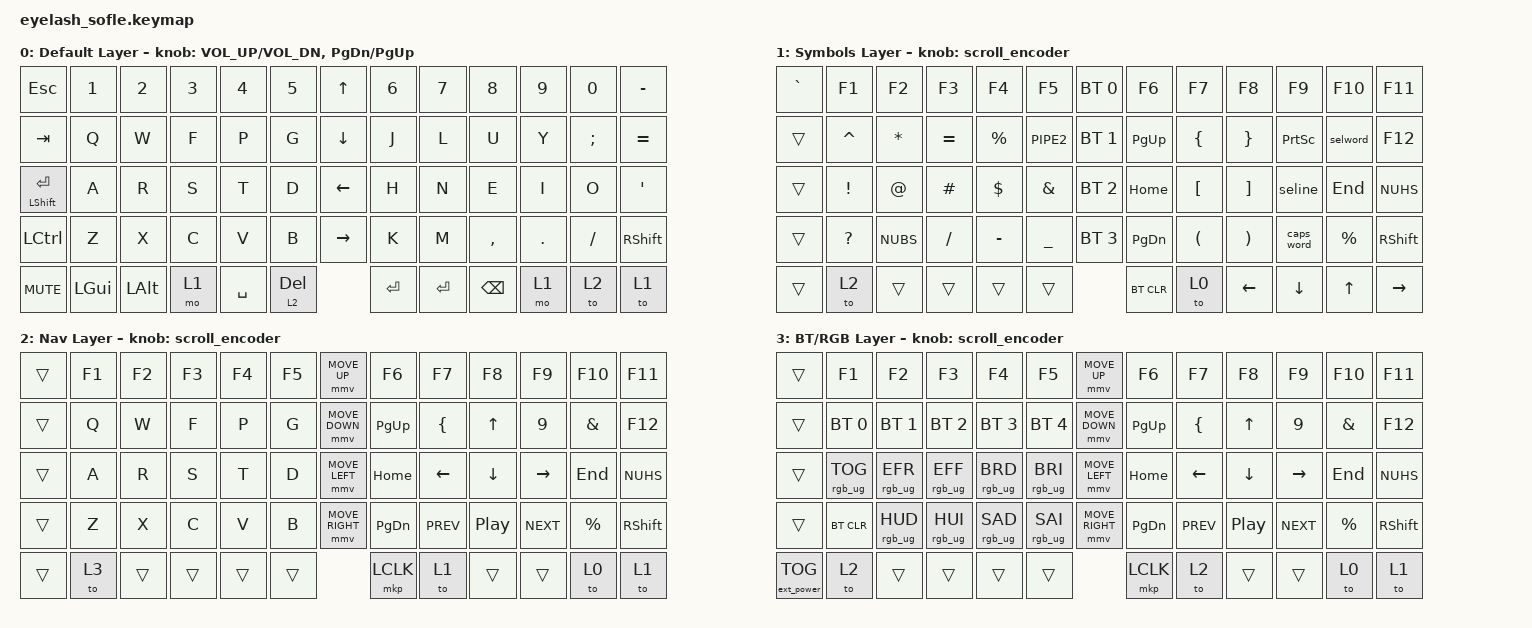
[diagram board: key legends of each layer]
#define ZMK_POINTING_DEFAULT_MOVE_VAL 1200  // 600
#define ZMK_POINTING_DEFAULT_SCRL_VAL 25   // 10

#include <input/processors.dtsi>
#include <zephyr/dt-bindings/input/input-event-codes.h>
#include <behaviors.dtsi>
#include <dt-bindings/zmk/bt.h>
#include <dt-bindings/zmk/keys.h>
#include <dt-bindings/zmk/outputs.h>
#include <dt-bindings/zmk/pointing.h>
#include <dt-bindings/zmk/ext_power.h>
#include <dt-bindings/zmk/rgb.h>

&mmv_input_listener { input-processors = <&zip_xy_scaler 2 1>; };

&msc_input_listener { input-processors = <&zip_scroll_scaler 2 1>; };

&caps_word {
    continue-list = <UNDERSCORE MINUS BACKSPACE DELETE>;
};

&msc {
    acceleration-exponent = <1>;      // 0
    time-to-max-speed-ms = <100>;       // 300
    delay-ms = <0>;                   // 0
};

&mmv {
    time-to-max-speed-ms = <500>;
    acceleration-exponent = <1>;
    trigger-period-ms = <16>;
};

&soft_off { hold-time-ms = <2000>; };

/ {
    scroll_encoder: scroll_encoder {
        compatible = "zmk,behavior-sensor-rotate";
        #sensor-binding-cells = <0>;
        bindings = <&msc SCRL_DOWN>, <&msc SCRL_UP>;

        tap-ms = <100>;
    };

    macros {
        seline: seline {
            compatible = "zmk,behavior-macro";
            #binding-cells = <0>;
            bindings
                = <&macro_tap &kp HOME>
                , <&macro_press &kp LSHFT>
                , <&macro_tap &kp END>
                , <&macro_release &kp LSHFT>
                ;
        };

        selword: selword {
            compatible = "zmk,behavior-macro";
            #binding-cells = <0>;
            bindings = <&kp LC(LEFT) &kp LC(LSHFT) &kp RIGHT>;
        };
    };

    behaviors {
    };

    combos {
        compatible = "zmk,combos";

        combo_grave {
            bindings = <&kp GRAVE>;
            timeout-ms = <50>;
            key-positions = <14 15>;
        };

        combo_mo_nav {
            bindings = <&mo 2>;
            timeout-ms = <50>;
            key-positions = <55 56>;
        };

        combo_mo_nav_2 {
            bindings = <&mo 2>;
            timeout-ms = <50>;
            key-positions = <55 61>;
        };
    };

    keymap {
        compatible = "zmk,keymap";

        default_layer {
            bindings = <
   // TODO FEKO - The bottom left is the action on pressing the rotary, and in the middle is the joystick
   // |------------------------------------------------------------------------------------------------------------------------------------------------------------------|
   // |  ESC           |   1   |   2    |   3     |   4     |   5      |                                    |   6     |   7    |   8      |   9     |   0     |   -      |
      &kp ESC          &kp N1  &kp N2   &kp N3    &kp N4    &kp N5                &kp UP_ARROW              &kp N6    &kp N7   &kp N8     &kp N9    &kp N0    &kp MINUS
   // |  TAB           |   Q   |   W    |   F     |   P     |   G      |                                    |   J     |   L    |   U      |   Y     |  ;:     | =        |
      &kp TAB          &kp Q   &kp W    &kp F     &kp P     &kp G                 &kp DOWN_ARROW            &kp J     &kp L    &kp U      &kp Y     &kp SEMI  &kp EQUAL
   // | SHFT/ENTR      |   A   |   R    |   S     |   T     |   D      |                                    |   H     |   N    |   E      |   I     |   O     |  '       |
      &mt LSHIFT ENTER &kp A   &kp R    &kp S     &kp T     &kp D                 &kp LEFT_ARROW            &kp H     &kp N    &kp E      &kp I     &kp O     &kp SQT
  //  | CTRL           |   Z   |   X    |   C     |   V     |   B      |                                    |   K     |   M    |   ,      |   .     |   /     | SHIFT    |
      &kp LCTRL        &kp Z   &kp X    &kp C     &kp V     &kp B                 &kp RIGHT_ARROW           &kp K     &kp M    &kp COMMA  &kp DOT   &kp FSLH  &kp RSHFT
  //  | ---------------------- | GUI    |  LALT   |  FNSYM  | SPACE    | DEL   |                  |  ENTER  | BACKSPC |  FNSYM |  UP2     |  RAISE  |---------------------
      &kp C_MUTE               &kp LGUI &kp LALT  &mo 1     &kp SPACE  &lt 2 DELETE    &kp ENTER  &kp ENTER &kp BSPC  &mo 1    &to 2      &to 1 
  //                           |-----------------------------------------------|                  |-----------------------------------------------|
            >;

            sensor-bindings = <&inc_dec_kp C_VOL_UP C_VOL_DN &inc_dec_kp PG_DN PG_UP>;
            display-name = "Default Layer";
        };

        fn_symbols {
            bindings = <
// TODO FEKO: Missing Lower bar. WTF is &ext_power EP_TOG ?? -> Power Toggle
// ----------------------------------------------------------------------------------------------------------------------------------------------------------------|
// |   `   |   F1    |   F2   |   F3   |   F4     |   F5   |                                             |  F6     |   F7   |   F8   |   F9    |  F10    |   F11   |
 &kp GRAVE &kp F1    &kp F2   &kp F3   &kp F4     &kp F5                  &bt BT_SEL 0                   &kp F6    &kp F7   &kp F8   &kp F9    &kp F10   &kp F11
// |       |   ^     |    *   |    =   |    %     |    |   |                                             | PGUP    |    {   |    }   | PRTSCR  | SELWORD |   F12   |
   &trans  &kp CARET &kp STAR &kp EQUAL &kp PRCNT &kp PIPE2               &bt BT_SEL 1                   &kp PG_UP &kp LBRC &kp RBRC &kp PSCRN &selword  &kp F12
// |       |   !     |    @   |    #   |    $     |    &   |                                             | HOME    |    [   |    ]   | SELINE  |    END  |   #~    |
   &trans  &kp EXCL  &kp AT   &kp HASH &kp DLLR   &kp AMPS                &bt BT_SEL 2                   &kp HOME  &kp LBKT &kp RBKT &seline   &kp END   &kp NUHS
// |       |   ?     |    \   |   /    |    -     |    _   |                                             | PGDN    |    (   |    )   | CAPSWRD |    %    |   SHIFT |
   &trans  &kp QMARK &kp NUBS &kp FSLH &kp MINUS  &kp UNDER               &bt BT_SEL 3                   &kp PG_DN &kp LPAR &kp RPAR &caps_word &kp PRCNT &kp RSHFT
// |-----------------| RAISE  |        |          |        |        |                            | LOWER |    <-   |    v   |    ^   | ->      |-------------------|
  &trans             &to 2    &trans   &trans     &trans   &trans         &bt BT_CLR             &to 0   &kp LEFT  &kp DOWN &kp UP &kp RIGHT   
//                   |----------------------------------------------|                            |---------------------------------------------|
            >;

            sensor-bindings = <&scroll_encoder>;
            display-name = "Symbols Layer";
        };

        nav_layer {
            bindings = <
// -------------------------------------------------------------------------------------------------------------------------------------------------------------------------|
// |       |   F1  |   F2   |   F3    |   F4    |   F5   |                                      |  F6     |   F7         |   F8         |   F9          |  F10    |   F11   |
   &trans  &kp F1  &kp F2   &kp F3    &kp F4    &kp F5               &mmv MOVE_UP               &kp F6    &kp F7         &kp F8         &kp F9          &kp F10   &kp F11
// |       |   Q   |   W    |   F     |   P     |   G    |                                      | PGUP    |    {         |    ^         |    ??         |    &    |   F12   |
   &trans  &kp Q   &kp W    &kp F     &kp P     &kp G                &mmv MOVE_DOWN             &kp PG_UP &kp LBRC       &kp UP_ARROW   &kp N9          &kp AMPS  &kp F12
// |       |   A   |   R    |   S     |   T     |   D    |                                      | HOME    |    <-        |    v         |    ->         |    END  |   #~    |
   &trans  &kp A   &kp R    &kp S     &kp T     &kp D                &mmv MOVE_LEFT             &kp HOME  &kp LEFT_ARROW &kp DOWN_ARROW &kp RIGHT_ARROW &kp END   &kp NUHS
// |       |   Z   |   X    |   C     |   V     |   B    |                                      | PGDN    |   PRVS       |  PLAY        |    NEXT       |    %    |   SHIFT |
   &trans  &kp Z   &kp X    &kp C     &kp V     &kp B                &mmv MOVE_RIGHT            &kp PG_DN &kp C_PREV     &kp C_PP       &kp C_NEXT      &kp PRCNT &kp RSHFT
// |---------------| RAISE  |         |         |        |       |                     | LOWER  |         |              | LOW2         | LOWER         |-------------------|
   &trans          &to 3    &trans    &trans    &trans   &trans      &mkp LCLK         &to 1    &trans    &trans         &to 0          &to 1   
//                 |---------------------------------------------|                     |---------------------------------------------------------------|

            >;

            sensor-bindings = <&scroll_encoder>;
            display-name = "Nav Layer";
        };

        bt_rgb_layer {
            bindings = <
// ------------------------------------------------------------------------------------------------------------------------------------------------------------------------------------------------------------|
// |       |   F1          |   F2          |   F3          |   F4          |   F5           |                                      |  F6     |   F7         |   F8         |   F9          |  F10    |   F11   |
   &trans  &kp F1          &kp F2          &kp F3          &kp F4          &kp F5                    &mmv MOVE_UP                  &kp F6    &kp F7         &kp F8         &kp F9          &kp F10   &kp F11
// |       |   BT1         |    BT2        |    BT3        |    BT4        |    BT5         |                                      | PGUP    |    {         |    ^         |    ??         |    &    |   F12   |
   &trans  &bt BT_SEL 0    &bt BT_SEL 1    &bt BT_SEL 2    &bt BT_SEL 3    &bt BT_SEL 4              &mmv MOVE_DOWN                &kp PG_UP &kp LBRC       &kp UP_ARROW   &kp N9          &kp AMPS  &kp F12
// |       |   RGBT        |    RGB-       |    RGB+       |    BR-        |    BR+         |                                      | HOME    |    <-        |    v         |    ->         |    END  |   #~    |
   &trans  &rgb_ug RGB_TOG &rgb_ug RGB_EFR &rgb_ug RGB_EFF &rgb_ug RGB_BRD &rgb_ug RGB_BRI          &mmv MOVE_LEFT                 &kp HOME  &kp LEFT_ARROW &kp DOWN_ARROW &kp RIGHT_ARROW &kp END   &kp NUHS
// |       |   BTCLR       |    HUD        |   HUI         |    SAD        |    SAI         |                                      | PGDN    |   PRVS       |  PLAY        |    NEXT       |    %    |   SHIFT |
   &trans  &bt BT_CLR      &rgb_ug RGB_HUD &rgb_ug RGB_HUI &rgb_ug RGB_SAD &rgb_ug RGB_SAI          &mmv MOVE_RIGHT                &kp PG_DN &kp C_PREV     &kp C_PP       &kp C_NEXT      &kp PRCNT &kp RSHFT
// |-----------------------| RAISE         |               |               |                |        |                     | LOWER |         |              | LOW2         | LOWER         |-------------------|
  &ext_power EP_TOG        &to 2           &trans          &trans          &trans           &trans      &mkp LCLK          &to 2   &trans    &trans         &to 0          &to 1   
//                        |--------------------------------------------------------------------------|                     |---------------------------------------------------------------|

            >;

            sensor-bindings = <&scroll_encoder>;
            display-name = "BT/RGB Layer";
        };
    };
};
